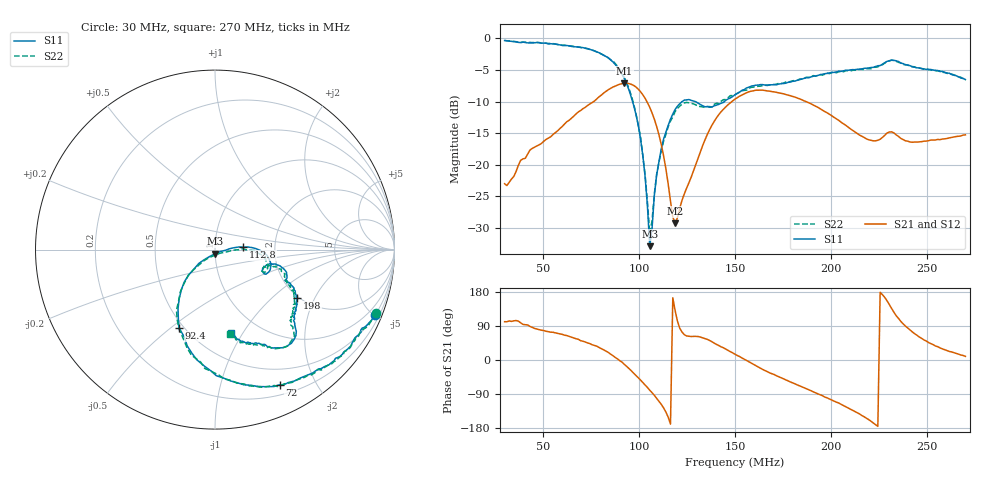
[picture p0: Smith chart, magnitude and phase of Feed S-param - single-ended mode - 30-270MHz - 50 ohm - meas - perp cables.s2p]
#  HZ  S  RI  R  50.0
! Rohde & Schwarz ZVL3 2Ports - Version 3.31 - 1303.6509k03 SN: 101102
! Date: 2016-10-20 14:24:07
! Data & Calibration Information:
! Trc1:S11(TOSM) Trc2:S21(TOSM) Trc3:S12(TOSM) Trc4:S22(TOSM)
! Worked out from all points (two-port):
!   201 points, 30 MHz to 270 MHz, reference 50 ohm
!   highest |S21| = -7.08 dB at 92.4 MHz (marker M1); lowest = -29.3 dB at 118.8 MHz (marker M2)
!   |S21| within 3 dB of the highest: 76 MHz to 104.2 MHz (28.24 MHz wide, 31.3 % of centre); 148 MHz to 187.6 MHz (39.55 MHz wide, 23.6 % of centre)
!   lowest |S11| = -32.9 dB at 105.6 MHz (marker M3), VSWR 1.05, Z = 50.1 - j2.26 ohm
!   |S11| at or under -10 dB: 96.63 MHz to 122.5 MHz (25.83 MHz wide, 23.6 % of centre); 129.2 MHz to 144.5 MHz (15.27 MHz wide, 11.2 % of centre)
!   |S22| runs from -30.9 to -0.3 dB; largest |S21 - S12| = 0.009
!   S11 on the Smith chart (normalised r, x): 30 MHz: 0.52, -5.07; 72 MHz: 0.31, -1.54; 92.4 MHz: 0.47, -0.53; 112.8 MHz: 1.38, +0.04; 198 MHz: 1.96, -1.46; 270 MHz: 0.75, -0.89
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3e7  0.8915 -0.3622  -0.0136 0.0693  -0.0128 0.0663  0.8954 -0.3555
4.32e7  0.7752 -0.4992  0.00303 0.1305  0.00105 0.1307  0.7816 -0.5035
7.08e7  0.3787 -0.7559  0.1803 0.2111  0.1795 0.2102  0.3869 -0.7478
7.2e7  0.3598 -0.7532  0.1922 0.21  0.1935 0.2084  0.3473 -0.7629
8.4e7  0.00715 -0.7024  0.3685 0.1341  0.3681 0.1318  0.0251 -0.7013
9.24e7  -0.2005 -0.4355  0.4333 -0.0898  0.4336 -0.0864  -0.1992 -0.4457
1.008e8  -0.1171 -0.1081  0.228 -0.3018  0.2266 -0.3026  -0.1212 -0.1137
1.032e8  -0.058 -0.0548  0.1354 -0.3063  0.136 -0.3058  -0.0576 -0.0589
1.056e8  0.00154 -0.0226  0.0506 -0.2802  0.0529 -0.2796  0.00831 -0.0272
1.104e8  0.1054 0.0102  -0.0556 -0.1631  -0.0551 -0.1632  0.1043 -0.00289
1.128e8  0.1587 0.0147  -0.0697 -0.0949  -0.0702 -0.0946  0.1536 0.0046
1.188e8  0.2729 -0.02  -0.0225 0.0261  -0.0227 0.0259  0.2611 -0.0313
1.26e8  0.3072 -0.1141  0.0331 0.0639  0.0328 0.0642  0.2876 -0.1133
1.368e8  0.2657 -0.1033  0.1181 0.1486  0.1174 0.1493  0.2724 -0.0947
1.5e8  0.3476 -0.086  0.3186 0.087  0.318 0.0913  0.3427 -0.1014
1.632e8  0.4015 -0.1559  0.3609 -0.1439  0.3626 -0.1414  0.3886 -0.155
1.908e8  0.4465 -0.2294  0.0303 -0.2948  0.0317 -0.2951  0.4464 -0.2416
1.98e8  0.4565 -0.268  -0.0438 -0.2537  -0.0463 -0.2539  0.4421 -0.2914
2.208e8  0.4442 -0.3857  -0.1478 -0.0497  -0.1481 -0.0479  0.4183 -0.3946
2.304e8  0.4411 -0.4995  -0.151 0.1007  -0.1513 0.1006  0.4246 -0.5096
2.46e8  0.2523 -0.5266  0.0742 0.132  0.073 0.1329  0.2385 -0.5314
2.7e8  0.0916 -0.4628  0.17 0.0286  0.169 0.0301  0.0827 -0.4701
